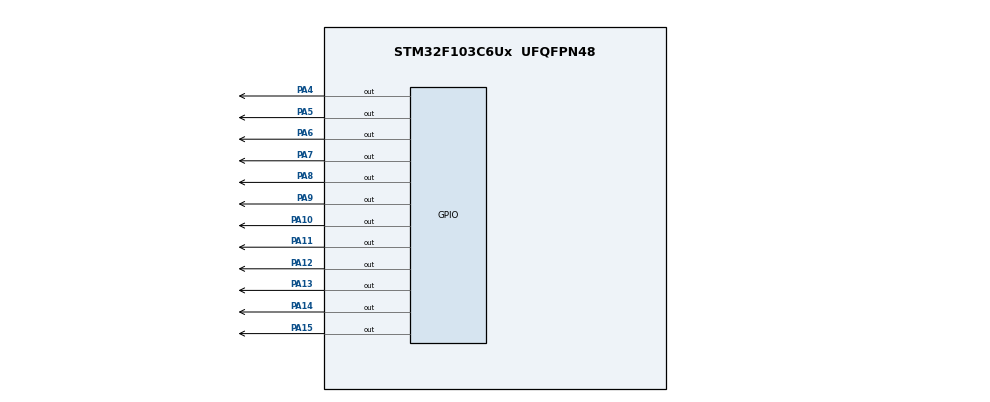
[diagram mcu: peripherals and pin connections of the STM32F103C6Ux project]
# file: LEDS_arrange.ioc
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Mcu.Family=STM32F1
Mcu.Name=STM32F103C6Ux
Mcu.Package=UFQFPN48
NVIC.PriorityGroup=NVIC_PRIORITYGROUP_4
PA10.Signal=GPIO_Output
PA11.Signal=GPIO_Output
PA12.Signal=GPIO_Output
PA13.Signal=GPIO_Output
PA14.Signal=GPIO_Output
PA15.Signal=GPIO_Output
PA4.Signal=GPIO_Output
PA5.Signal=GPIO_Output
PA6.Signal=GPIO_Output
PA7.Signal=GPIO_Output
PA8.Signal=GPIO_Output
PA9.Signal=GPIO_Output
ProjectManager.HeapSize=0x200
ProjectManager.StackSize=0x400
ProjectManager.TargetToolchain=STM32CubeIDE
RCC.APB1Freq_Value=8000000
RCC.APB2Freq_Value=8000000
VP_SYS_VS_ND.Mode=No_Debug
board=custom

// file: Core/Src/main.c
/* USER CODE BEGIN Header */
/**
  ******************************************************************************
  * @file           : main.c
  * @brief          : Main program body
  ******************************************************************************
  * @attention
  *
  * <h2><center>&copy; Copyright (c) 2026 STMicroelectronics.
  * All rights reserved.</center></h2>
  *
  * This software component is licensed by ST under BSD 3-Clause license,
  * the "License"; You may not use this file except in compliance with the
  * License. You may obtain a copy of the License at:
  *                        opensource.org/licenses/BSD-3-Clause
  *
  ******************************************************************************
  */
/* USER CODE END Header */
#include "main.h"

void SystemClock_Config(void);
static void MX_GPIO_Init(void);
/* USER CODE BEGIN PFP */
void clearAllClock(void);
void setNumberOnClock(int num);
void clearNumberOnClock(int num);
/* USER CODE END PFP */

int main(void)
{
  /* USER CODE BEGIN 1 */
	int second =0;
	int minute =0;
	int hour=0;
  /* USER CODE END 1 */

  /* MCU Configuration--------------------------------------------------------*/

  /* Reset of all peripherals, Initializes the Flash interface and the Systick. */
  HAL_Init();

  /* Configure the system clock */
  SystemClock_Config();

  /* Initialize all configured peripherals */
  MX_GPIO_Init();

  /* Infinite loop */
  /* USER CODE BEGIN WHILE */
  while (1)
  {
	  for (int i = 0; i < 12; i++) {
	  	          clearAllClock();
	  	          HAL_Delay(500);
	  	          setNumberOnClock(i);
	  	          HAL_Delay(1000);
	  	        }

    /* USER CODE END WHILE */

  }
}

void SystemClock_Config(void)
{
  RCC_OscInitTypeDef RCC_OscInitStruct = {0};
  RCC_ClkInitTypeDef RCC_ClkInitStruct = {0};

  /** Initializes the RCC Oscillators according to the specified parameters
  * in the RCC_OscInitTypeDef structure.
  */
  RCC_OscInitStruct.OscillatorType = RCC_OSCILLATORTYPE_HSI;
  RCC_OscInitStruct.HSIState = RCC_HSI_ON;
  RCC_OscInitStruct.HSICalibrationValue = RCC_HSICALIBRATION_DEFAULT;
  RCC_OscInitStruct.PLL.PLLState = RCC_PLL_NONE;
  if (HAL_RCC_OscConfig(&RCC_OscInitStruct) != HAL_OK)
  {
    Error_Handler();
  }
  /** Initializes the CPU, AHB and APB buses clocks
  */
  RCC_ClkInitStruct.ClockType = RCC_CLOCKTYPE_HCLK|RCC_CLOCKTYPE_SYSCLK
                              |RCC_CLOCKTYPE_PCLK1|RCC_CLOCKTYPE_PCLK2;
  RCC_ClkInitStruct.SYSCLKSource = RCC_SYSCLKSOURCE_HSI;
  RCC_ClkInitStruct.AHBCLKDivider = RCC_SYSCLK_DIV1;
  RCC_ClkInitStruct.APB1CLKDivider = RCC_HCLK_DIV1;
  RCC_ClkInitStruct.APB2CLKDivider = RCC_HCLK_DIV1;

  if (HAL_RCC_ClockConfig(&RCC_ClkInitStruct, FLASH_LATENCY_0) != HAL_OK)
  {
    Error_Handler();
  }
}

static void MX_GPIO_Init(void)
{
  GPIO_InitTypeDef GPIO_InitStruct = {0};

  /* GPIO Ports Clock Enable */
  __HAL_RCC_GPIOA_CLK_ENABLE();

  /*Configure GPIO pin Output Level */
  HAL_GPIO_WritePin(GPIOA, GPIO_PIN_4|GPIO_PIN_5|GPIO_PIN_6|GPIO_PIN_7
                          |GPIO_PIN_8|GPIO_PIN_9|GPIO_PIN_10|GPIO_PIN_11
                          |GPIO_PIN_12|GPIO_PIN_13|GPIO_PIN_14|GPIO_PIN_15, GPIO_PIN_RESET);

  /*Configure GPIO pins : PA4 PA5 PA6 PA7
                           PA8 PA9 PA10 PA11
                           PA12 PA13 PA14 PA15 */
  GPIO_InitStruct.Pin = GPIO_PIN_4|GPIO_PIN_5|GPIO_PIN_6|GPIO_PIN_7
                          |GPIO_PIN_8|GPIO_PIN_9|GPIO_PIN_10|GPIO_PIN_11
                          |GPIO_PIN_12|GPIO_PIN_13|GPIO_PIN_14|GPIO_PIN_15;
  GPIO_InitStruct.Mode = GPIO_MODE_OUTPUT_PP;
  GPIO_InitStruct.Pull = GPIO_NOPULL;
  GPIO_InitStruct.Speed = GPIO_SPEED_FREQ_LOW;
  HAL_GPIO_Init(GPIOA, &GPIO_InitStruct);

}

/* USER CODE BEGIN 4 */
void clearAllClock(void) {
    // Turn off all 12 LEDs from PA4 to PA15 (output a logic high level).
    HAL_GPIO_WritePin(GPIOA, GPIO_PIN_4 | GPIO_PIN_5 | GPIO_PIN_6 | GPIO_PIN_7 |
                             GPIO_PIN_8 | GPIO_PIN_9 | GPIO_PIN_10 | GPIO_PIN_11 |
                             GPIO_PIN_12 | GPIO_PIN_13 | GPIO_PIN_14 | GPIO_PIN_15, GPIO_PIN_SET);
}

void setNumberOnClock(int num) {
    // If the input number is not between 0 and 11, exit.
    if (num < 0 || num > 11) return;

    // Array mapping pin positions to the corresponding pins from PA4 to PA15.
    uint16_t clock_pins[12] = {GPIO_PIN_4, GPIO_PIN_5, GPIO_PIN_6, GPIO_PIN_7,
                               GPIO_PIN_8, GPIO_PIN_9, GPIO_PIN_10, GPIO_PIN_11,
                               GPIO_PIN_12, GPIO_PIN_13, GPIO_PIN_14, GPIO_PIN_15};

    // Turn on the LED at the corresponding position (output a logic low level).
    HAL_GPIO_WritePin(GPIOA, clock_pins[num], GPIO_PIN_RESET);
}

void clearNumberOnClock(int num) {
    if (num < 0 || num > 11) return;
    uint16_t clock_pins[12] = {GPIO_PIN_4, GPIO_PIN_5, GPIO_PIN_6, GPIO_PIN_7,
                               GPIO_PIN_8, GPIO_PIN_9, GPIO_PIN_10, GPIO_PIN_11,
                               GPIO_PIN_12, GPIO_PIN_13, GPIO_PIN_14, GPIO_PIN_15};

    HAL_GPIO_WritePin(GPIOA, clock_pins[num], GPIO_PIN_SET);
}
/* USER CODE END 4 */

void Error_Handler(void)
{
  __disable_irq();
  while (1)
  {
  }
}

/************************ (C) COPYRIGHT STMicroelectronics *****END OF FILE****/
